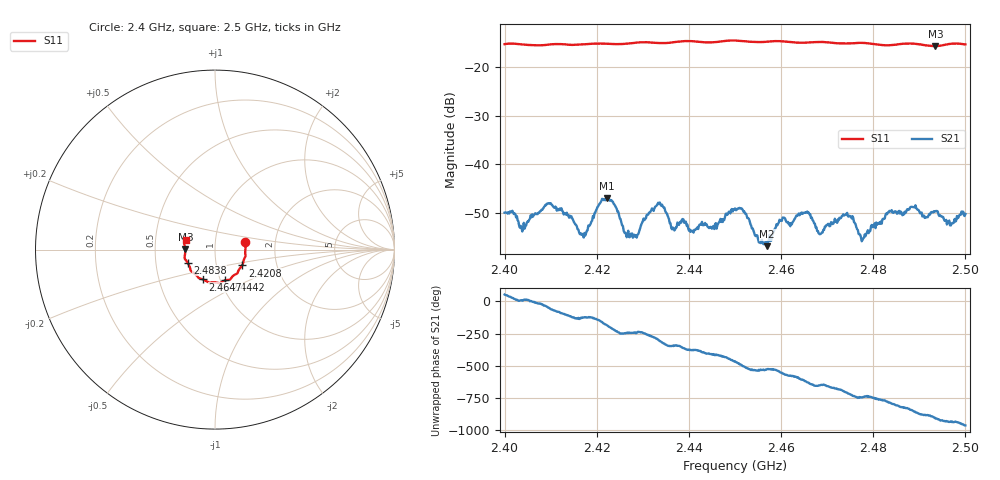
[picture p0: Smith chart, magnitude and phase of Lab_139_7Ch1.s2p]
# Hz S RI R 50
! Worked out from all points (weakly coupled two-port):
!   601 points, 2.4 GHz to 2.5 GHz, reference 50 ohm
!   highest |S21| = -47.08 dB at 2.4222 GHz (marker M1); lowest = -57.0 dB at 2.457 GHz (marker M2)
!   lowest |S11| = -15.6 dB at 2.4935 GHz (marker M3), VSWR 1.40, Z = 35.8 + j0.184 ohm
!   |S11| at or under -10 dB: start of sweep to end of sweep
!   S12 and S22 are empty: the file has one direction only
!   S11 on the Smith chart (normalised r, x): 2.4 GHz: 1.40, +0.12; 2.4208 GHz: 1.33, -0.24; 2.4442 GHz: 1.05, -0.37; 2.4647 GHz: 0.83, -0.29; 2.4838 GHz: 0.73, -0.11; 2.5 GHz: 0.71, +0.08
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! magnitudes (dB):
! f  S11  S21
! 2.4 GHz  -15.2  -50.0
! 2.4042 GHz  -15.3  -52.1
! 2.4098 GHz  -15.3  -48.2
! 2.4167 GHz  -15.3  -54.6
! 2.4208 GHz  -15.1  -47.9
! 2.4222 GHz  -15.1  -47.1
! 2.4275 GHz  -15.0  -54.7
! 2.4333 GHz  -15.0  -48.0
! 2.4367 GHz  -14.8  -53.2
! 2.4442 GHz  -14.9  -53.0
! 2.45 GHz  -14.5  -49.2
! 2.457 GHz  -14.7  -57.0
! 2.4602 GHz  -14.6  -51.7
! 2.4647 GHz  -14.9  -50.3
! 2.4667 GHz  -14.8  -51.0
! 2.4685 GHz  -14.8  -54.5
! 2.4745 GHz  -15.1  -50.7
! 2.4778 GHz  -15.0  -55.3
! 2.4833 GHz  -15.5  -49.9
! 2.4838 GHz  -15.4  -49.7
! 2.4935 GHz  -15.6  -49.7
! 2.5 GHz  -15.3  -50.3
